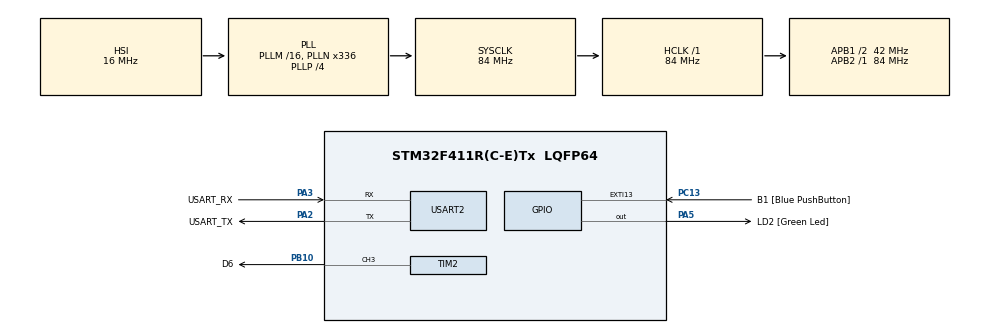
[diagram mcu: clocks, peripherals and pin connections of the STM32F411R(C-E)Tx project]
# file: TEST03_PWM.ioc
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Mcu.Family=STM32F4
Mcu.Name=STM32F411R(C-E)Tx
Mcu.Package=LQFP64
NVIC.EXTI15_10_IRQn=true\:0\:0\:false\:false\:true\:true\:true\:true
NVIC.PriorityGroup=NVIC_PRIORITYGROUP_0
PA13.GPIO_Label=TMS
PA13.Mode=Serial_Wire
PA13.Signal=SYS_JTMS-SWDIO
PA14.GPIO_Label=TCK
PA14.Mode=Serial_Wire
PA14.Signal=SYS_JTCK-SWCLK
PA2.GPIO_Label=USART_TX
PA2.Mode=Asynchronous
PA2.Signal=USART2_TX
PA3.GPIO_Label=USART_RX
PA3.Mode=Asynchronous
PA3.Signal=USART2_RX
PA5.GPIO_Label=LD2 [Green Led]
PA5.Signal=GPIO_Output
PB10.GPIO_Label=D6
PB10.Signal=S_TIM2_CH3
PB3.GPIO_Label=SWO
PB3.Signal=SYS_JTDO-SWO
PC13-ANTI_TAMP.GPIO_Label=B1 [Blue PushButton]
PC13-ANTI_TAMP.GPIO_ModeDefaultEXTI=GPIO_MODE_IT_FALLING
PC13-ANTI_TAMP.Signal=GPXTI13
PC14-OSC32_IN.Mode=LSE-External-Oscillator
PC14-OSC32_IN.Signal=RCC_OSC32_IN
PC15-OSC32_OUT.Mode=LSE-External-Oscillator
PC15-OSC32_OUT.Signal=RCC_OSC32_OUT
PH0\ -\ OSC_IN.Mode=HSE-External-Clock-Source
PH0\ -\ OSC_IN.Signal=RCC_OSC_IN
PH1\ -\ OSC_OUT.Mode=HSE-External-Clock-Source
PH1\ -\ OSC_OUT.Signal=RCC_OSC_OUT
ProjectManager.HeapSize=0x200
ProjectManager.StackSize=0x400
ProjectManager.TargetToolchain=STM32CubeIDE
RCC.48MHZClocksFreq_Value=84000000
RCC.AHBFreq_Value=84000000
RCC.APB1CLKDivider=RCC_HCLK_DIV2
RCC.APB1Freq_Value=42000000
RCC.APB1TimFreq_Value=84000000
RCC.APB2Freq_Value=84000000
RCC.APB2TimFreq_Value=84000000
RCC.CortexFreq_Value=84000000
RCC.FLatency-AdvancedSettings=FLASH_LATENCY_2
RCC.HCLKFreq_Value=84000000
RCC.HSE_VALUE=8000000
RCC.HSI_VALUE=16000000
RCC.PLLN=336
RCC.PLLP=RCC_PLLP_DIV4
RCC.SYSCLKFreq_VALUE=84000000
RCC.SYSCLKSource=RCC_SYSCLKSOURCE_PLLCLK
RCC.VCOOutputFreq_Value=336000000
SH.S_TIM2_CH3.0=TIM2_CH3,PWM Generation3 CH3
TIM2.Channel-PWM\ Generation3\ CH3=TIM_CHANNEL_3
TIM2.Period=1000-1
TIM2.Prescaler=8400-1
USART2.VirtualMode=VM_ASYNC
board=NUCLEO-F411RE

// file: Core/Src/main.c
/* USER CODE BEGIN Header */
/**
  ******************************************************************************
  * @file           : main.c
  * @brief          : Main program body
  ******************************************************************************
  * @attention
  *
  * Copyright (c) 2024 STMicroelectronics.
  * All rights reserved.
  *
  * This software is licensed under terms that can be found in the LICENSE file
  * in the root directory of this software component.
  * If no LICENSE file comes with this software, it is provided AS-IS.
  *
  ******************************************************************************
  */
/* USER CODE END Header */
#include "main.h"

/* USER CODE BEGIN Includes */
#include <stdio.h>

/* USER CODE END Includes */

TIM_HandleTypeDef htim2;

UART_HandleTypeDef huart2;

void SystemClock_Config(void);
static void MX_GPIO_Init(void);
static void MX_USART2_UART_Init(void);
static void MX_TIM2_Init(void);

/* USER CODE BEGIN 0 */
int mux = 0;

//int mode = 0;

void HAL_GPIO_EXTI_Callback(uint16_t GPIO_Pin)
{
	//mode = 1;
	if(++mux > 24) mux = 1;
}

enum {DO=0,Do,RE,Re,MI,FA,Fa,SL,Sl,LA,La,CI,hDO,hDo,hRE,hRe,hMI,hMi,hFA,hFa,hSL,hSl,hLA,hLa,hCI};
double pitchF[] = {261.6256,277.1826,293.6648,311.1270,329.6276,349.2282,369.9944,391.9954,415.3047,440,466.1638,493.8833,
				   523.2511,554.3653,587.3295,622.2540,659.2551,698.4565,739.9888,783.9909,830.6094,880,932.3275,987.7666};
int p3[24];
int arr = 1000, clk = 84000000;

void calcPitch()
{
    for(int i = 0; i < 24; i++)
    {
        p3[i] = clk / (pitchF[i] * arr);
    }
}

void PlaySound(int pldx,int rtm)
{
    htim2.Instance->PSC = p3[pldx];
    HAL_Delay(2000 / rtm);
}

int Song[] = {SL,SL,MI,FA,SL,LA,LA,SL,SL,hDO,hMI,hRE,hDO,hRE,hMI,hMI,hRE,hRE,hDO,hRE,hDO,LA,LA,SL,SL,SL,MI,RE,DO,RE,
		      RE,MI,DO,RE,RE,MI,SL,LA,hDO,hMI,hRE,hDO,hRE,hMI,hMI,hRE,hRE,hDO,hRE,hDO,LA,LA,SL,SL,SL,MI,RE,DO,-1};
int Rythm[] = {4,4,8,8,4,4,4,2,4,4,4,8,8,1,4,4,4,4,4,8,8,4,4,4,4,4,8,8,1,4,4,4,4,4,4,4,4,4,4,4,8,8,1,4,4,4,4,4,8,8,4,4,4,4,4,8,8,1};

/* USER CODE END 0 */

int main(void)
{

  /* MCU Configuration--------------------------------------------------------*/

  /* Reset of all peripherals, Initializes the Flash interface and the Systick. */
  HAL_Init();

  /* Configure the system clock */
  SystemClock_Config();

  /* Initialize all configured peripherals */
  MX_GPIO_Init();
  MX_USART2_UART_Init();
  MX_TIM2_Init();
  /* USER CODE BEGIN 2 */

  ProgramStart("PWM");
  calcPitch();
  HAL_TIM_PWM_Start(&htim2, TIM_CHANNEL_3);
  htim2.Instance->CCR3 = 20; // duty rate
  /* USER CODE END 2 */

  /* Infinite loop */
  /* USER CODE BEGIN WHILE */
  //int sn = 2800; // C code start
  //int melody[] = {5,5,6,6,5,5,3,5,5,3,3,2,5,5,6,6,5,5,3,5,3,2,3,1};
  mux = 1;
  while (1)
  {
    /* USER CODE END WHILE */

    /* USER CODE BEGIN 3 */
	  htim2.Instance->CCR3 = htim2.Instance->ARR / 2;
	  for(int i = 0; Song[i] != -1; i++)
	  {
	      PlaySound(Song[i], Rythm[i]);
	  }
	  //while(Song[i] != -1);
	  //htim2.Instance->PSC = sn / mux;
	  htim2.Instance->CCR3 = 0;
	  printf("Play Ended. Press B1 button for replay...\r\n");
	  Wait();

	  /*if(mode == 1) {
		  mux++;
		  HAL_Delay(500);
	  }
	  else mux = 0;

	  if(mux > 24) mux = 0;

	  sn = melody[mux];

	  switch(sn) {
	  case 1: // Do
		  htim2.Instance->PSC = 160.6 ;
		  break;
	  case 2: // Re
		  htim2.Instance->PSC = 143.1 ;
		  break;
	  case 3: // Mi
		  htim2.Instance->PSC = 127.4 ;
	  	  break;
	  case 4: // Fa
		  htim2.Instance->PSC = 120.3 ;
	  	  break;
	  case 5: // Sol
		  htim2.Instance->PSC = 107.2 ;
	  	  break;
	  case 6: // Ra
		  htim2.Instance->PSC = 95.4;
	  	  break;
	  case 7: // Ci
		  htim2.Instance->PSC = 85.1;
	  	  break;
	  case 8: // Do
		  htim2.Instance->PSC = 80.3;
	  	  break;
	  }

	  int f = 84000000/(htim2.Instance->PSC * htim2.Instance->ARR);
	  printf("Current Frequency : %d\r\n", f);
	  */
  }
  /* USER CODE END 3 */
}

void SystemClock_Config(void)
{
  RCC_OscInitTypeDef RCC_OscInitStruct = {0};
  RCC_ClkInitTypeDef RCC_ClkInitStruct = {0};

  /** Configure the main internal regulator output voltage
  */
  __HAL_RCC_PWR_CLK_ENABLE();
  __HAL_PWR_VOLTAGESCALING_CONFIG(PWR_REGULATOR_VOLTAGE_SCALE1);

  /** Initializes the RCC Oscillators according to the specified parameters
  * in the RCC_OscInitTypeDef structure.
  */
  RCC_OscInitStruct.OscillatorType = RCC_OSCILLATORTYPE_HSI;
  RCC_OscInitStruct.HSIState = RCC_HSI_ON;
  RCC_OscInitStruct.HSICalibrationValue = RCC_HSICALIBRATION_DEFAULT;
  RCC_OscInitStruct.PLL.PLLState = RCC_PLL_ON;
  RCC_OscInitStruct.PLL.PLLSource = RCC_PLLSOURCE_HSI;
  RCC_OscInitStruct.PLL.PLLM = 16;
  RCC_OscInitStruct.PLL.PLLN = 336;
  RCC_OscInitStruct.PLL.PLLP = RCC_PLLP_DIV4;
  RCC_OscInitStruct.PLL.PLLQ = 4;
  if (HAL_RCC_OscConfig(&RCC_OscInitStruct) != HAL_OK)
  {
    Error_Handler();
  }

  /** Initializes the CPU, AHB and APB buses clocks
  */
  RCC_ClkInitStruct.ClockType = RCC_CLOCKTYPE_HCLK|RCC_CLOCKTYPE_SYSCLK
                              |RCC_CLOCKTYPE_PCLK1|RCC_CLOCKTYPE_PCLK2;
  RCC_ClkInitStruct.SYSCLKSource = RCC_SYSCLKSOURCE_PLLCLK;
  RCC_ClkInitStruct.AHBCLKDivider = RCC_SYSCLK_DIV1;
  RCC_ClkInitStruct.APB1CLKDivider = RCC_HCLK_DIV2;
  RCC_ClkInitStruct.APB2CLKDivider = RCC_HCLK_DIV1;

  if (HAL_RCC_ClockConfig(&RCC_ClkInitStruct, FLASH_LATENCY_2) != HAL_OK)
  {
    Error_Handler();
  }
}

static void MX_TIM2_Init(void)
{

  TIM_MasterConfigTypeDef sMasterConfig = {0};
  TIM_OC_InitTypeDef sConfigOC = {0};

  htim2.Instance = TIM2;
  htim2.Init.Prescaler = 8400-1;
  htim2.Init.CounterMode = TIM_COUNTERMODE_UP;
  htim2.Init.Period = 1000-1;
  htim2.Init.ClockDivision = TIM_CLOCKDIVISION_DIV1;
  htim2.Init.AutoReloadPreload = TIM_AUTORELOAD_PRELOAD_DISABLE;
  if (HAL_TIM_PWM_Init(&htim2) != HAL_OK)
  {
    Error_Handler();
  }
  sMasterConfig.MasterOutputTrigger = TIM_TRGO_RESET;
  sMasterConfig.MasterSlaveMode = TIM_MASTERSLAVEMODE_DISABLE;
  if (HAL_TIMEx_MasterConfigSynchronization(&htim2, &sMasterConfig) != HAL_OK)
  {
    Error_Handler();
  }
  sConfigOC.OCMode = TIM_OCMODE_PWM1;
  sConfigOC.Pulse = 0;
  sConfigOC.OCPolarity = TIM_OCPOLARITY_HIGH;
  sConfigOC.OCFastMode = TIM_OCFAST_DISABLE;
  if (HAL_TIM_PWM_ConfigChannel(&htim2, &sConfigOC, TIM_CHANNEL_3) != HAL_OK)
  {
    Error_Handler();
  }
  HAL_TIM_MspPostInit(&htim2);

}

static void MX_USART2_UART_Init(void)
{

  huart2.Instance = USART2;
  huart2.Init.BaudRate = 115200;
  huart2.Init.WordLength = UART_WORDLENGTH_8B;
  huart2.Init.StopBits = UART_STOPBITS_1;
  huart2.Init.Parity = UART_PARITY_NONE;
  huart2.Init.Mode = UART_MODE_TX_RX;
  huart2.Init.HwFlowCtl = UART_HWCONTROL_NONE;
  huart2.Init.OverSampling = UART_OVERSAMPLING_16;
  if (HAL_UART_Init(&huart2) != HAL_OK)
  {
    Error_Handler();
  }

}

static void MX_GPIO_Init(void)
{
  GPIO_InitTypeDef GPIO_InitStruct = {0};

  /* GPIO Ports Clock Enable */
  __HAL_RCC_GPIOC_CLK_ENABLE();
  __HAL_RCC_GPIOH_CLK_ENABLE();
  __HAL_RCC_GPIOA_CLK_ENABLE();
  __HAL_RCC_GPIOB_CLK_ENABLE();

  /*Configure GPIO pin Output Level */
  HAL_GPIO_WritePin(LD2_GPIO_Port, LD2_Pin, GPIO_PIN_RESET);

  /*Configure GPIO pin : B1_Pin */
  GPIO_InitStruct.Pin = B1_Pin;
  GPIO_InitStruct.Mode = GPIO_MODE_IT_FALLING;
  GPIO_InitStruct.Pull = GPIO_NOPULL;
  HAL_GPIO_Init(B1_GPIO_Port, &GPIO_InitStruct);

  /*Configure GPIO pin : LD2_Pin */
  GPIO_InitStruct.Pin = LD2_Pin;
  GPIO_InitStruct.Mode = GPIO_MODE_OUTPUT_PP;
  GPIO_InitStruct.Pull = GPIO_NOPULL;
  GPIO_InitStruct.Speed = GPIO_SPEED_FREQ_LOW;
  HAL_GPIO_Init(LD2_GPIO_Port, &GPIO_InitStruct);

  /* EXTI interrupt init*/
  HAL_NVIC_SetPriority(EXTI15_10_IRQn, 0, 0);
  HAL_NVIC_EnableIRQ(EXTI15_10_IRQn);

}

void Error_Handler(void)
{
  __disable_irq();
  while (1)
  {
  }
}
